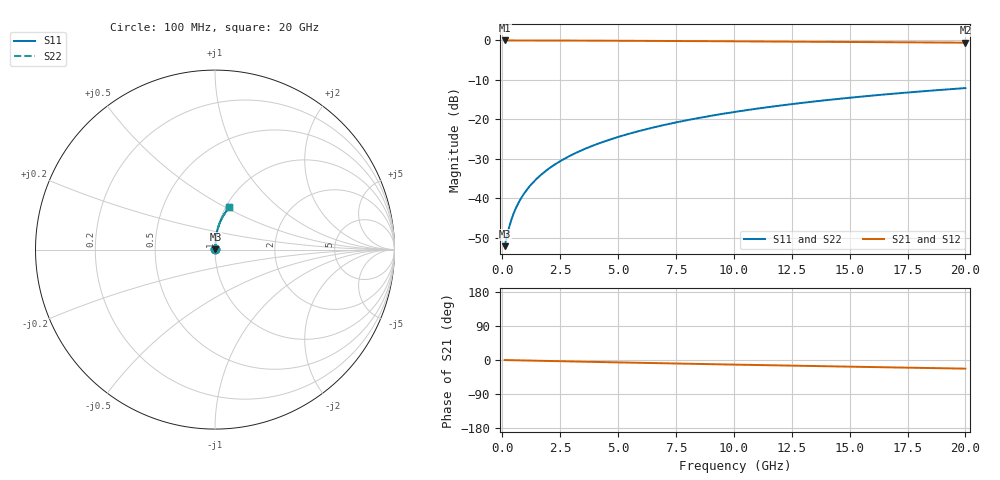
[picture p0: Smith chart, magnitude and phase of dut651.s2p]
! Touchstone file exported from HFSS 2024.1.0
!  File:  C:/UserFiles/LocalFiles/RDL_TSV_Batchsim/temp_RDL_bottom_651_1779785307.aedt
!  Generated:  04:51:20 PM May 26, 2026
!  Design:  RDL_bottom
!  Project:  temp_RDL_bottom_651_1779785307
!  Setup:  Setup1
!  Solution:  Sweep
! Variables:
!  dtsv = 10.80580581um
!  hbump = 3um
!  htsv = 72.65um
!  ldown = 292.23um
!  lrdl = 100um
!  p = 40
!  p1 = 44.64um
!  rhole = 1um
!  t = 450um
!  tdown = 2.94um
!  trdl = 3.915915916um
!  wdown = 18.53um
!  wrdl = 20um
# GHz S MA R 50.000000
! Terminal data exported
! Port[1] = RDL1_T1
! Port[2] = RDL1_T2
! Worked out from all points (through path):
!   200 points, 100 MHz to 20 GHz, reference 50 ohm
!   highest |S21| = -0.02 dB at 100 MHz (marker M1); lowest = -0.6 dB at 20 GHz (marker M2)
!   group delay of S21, straight-line fit = 3.15 ps
!   lowest |S11| = -52.1 dB at 100 MHz (marker M3), VSWR 1.00, Z = 50.2 + j0.127 ohm
!   |S11| at or under -10 dB: start of sweep to end of sweep
!   |S22| runs from -52.1 to -12.1 dB; largest |S21 - S12| = 2.6e-15
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0.1  0.002478 30.7  0.9979 -0.1  0.9979 -0.1  0.002478 30.7
! Gamma 0 0 0 0
! Port Impedance 50 0 50 0
0.2  0.00333 49.0  0.9978 -0.3  0.9978 -0.3  0.00333 49.0
0.3  0.00436 58.8  0.9977 -0.4  0.9977 -0.4  0.00436 58.8
0.4  0.005445 64.7  0.9976 -0.5  0.9976 -0.5  0.005445 64.7
0.5  0.006548 68.5  0.9975 -0.7  0.9975 -0.7  0.006548 68.5
0.6  0.007658 71.3  0.9974 -0.8  0.9974 -0.8  0.007658 71.3
0.8  0.009892 75.1  0.9973 -1.0  0.9973 -1.0  0.009892 75.1
1.1  0.01328 78.5  0.997 -1.4  0.997 -1.4  0.01328 78.5
1.3  0.01556 80.0  0.9968 -1.7  0.9968 -1.7  0.01556 80.0
1.6  0.01901 81.6  0.9965 -2.1  0.9965 -2.1  0.01901 81.6
2.1  0.02482 83.3  0.9959 -2.7  0.9959 -2.7  0.02483 83.3
2.7  0.03189 84.4  0.9949 -3.5  0.9949 -3.5  0.03189 84.4
3.5  0.04145 85.1  0.9934 -4.5  0.9934 -4.5  0.04145 85.1
4.2  0.04995 85.3  0.9918 -5.3  0.9918 -5.3  0.04995 85.3
5  0.0598 85.3  0.9897 -6.3  0.9897 -6.3  0.0598 85.3
5.9  0.07105 85.0  0.9871 -7.4  0.9871 -7.4  0.07105 85.1
6.8  0.08244 84.6  0.9843 -8.5  0.9843 -8.5  0.08245 84.6
8.4  0.103 83.4  0.979 -10.3  0.979 -10.3  0.103 83.5
10.1  0.125 81.9  0.9731 -12.3  0.9731 -12.3  0.125 82.0
13.4  0.1675 78.5  0.961 -15.9  0.961 -15.9  0.1675 78.6
16.7  0.209 74.9  0.9484 -19.4  0.9484 -19.4  0.209 74.9
20  0.2488 71.3  0.9353 -22.8  0.9353 -22.8  0.2489 71.3
